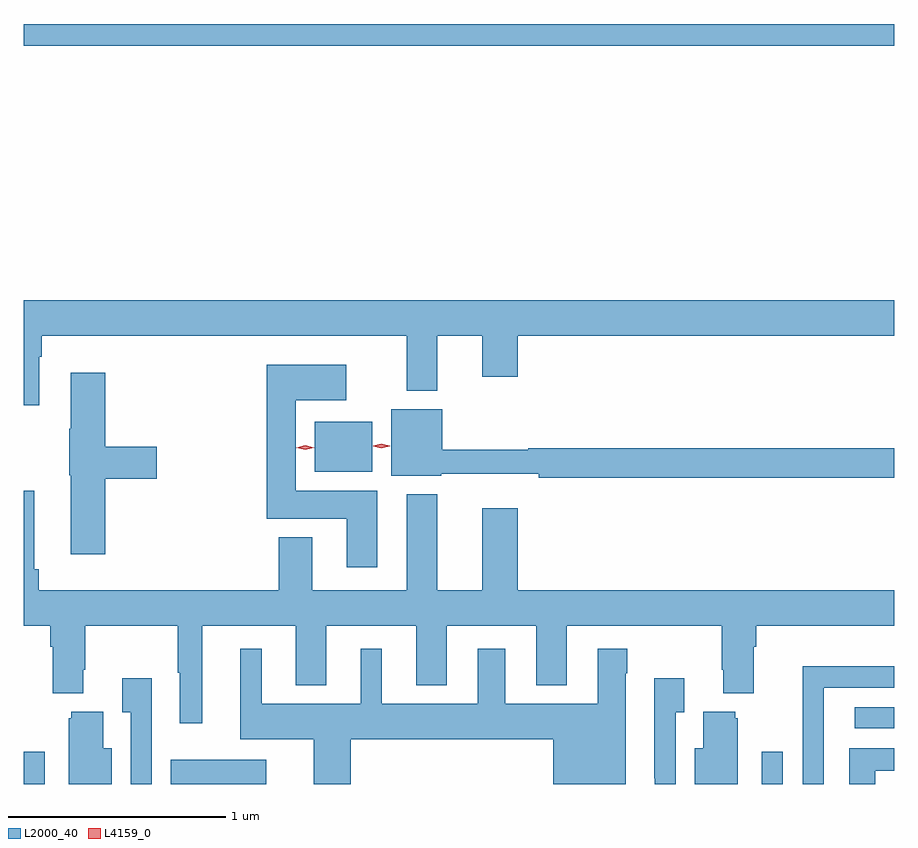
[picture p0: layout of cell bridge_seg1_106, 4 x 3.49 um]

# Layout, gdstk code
import gdstk
lib = gdstk.Library(unit=1e-6, precision=1e-09)
def R(c, l, rs):  # rectangles x0, y0, x1, y1
    for r in rs: c.add(gdstk.rectangle(r[:2], r[2:], *l))
def P(c, l, *ps):  # polygons
    for p in ps: c.add(gdstk.Polygon(p, *l))
L2000_40 = (2000, 40)
L4159_0 = (4159, 0)

bridge_seg1_106 = lib.new_cell('bridge_seg1_106')
R(bridge_seg1_106, L2000_40, [(354.711,580.309,354.807,580.456), (355.386,580.309,355.825,580.42), (358.101,580.309,358.197,580.456), (358.527,580.566,358.71,580.662), (356.048,581.744,356.311,581.974), (354.71,583.7,358.71,583.8)])
P(bridge_seg1_106, L2000_40, [(354.781,582.272),(354.794,582.272),(354.794,582.368),(356.471,582.368),(356.471,582.116),(356.611,582.116),(356.611,582.368),(356.816,582.368),(356.816,582.18),(356.98,582.18),(356.98,582.368),(358.71,582.368),(358.71,582.532),(354.71,582.532),(354.71,582.048),(354.781,582.048)],
  [(356.335,581.656),(355.96,581.656),(355.96,582.071),(356.191,582.071),(356.191,582.235),(355.826,582.235),(355.826,581.528),(356.195,581.528),(356.195,581.304),(356.335,581.304)],
  [(355.085,581.711),(355.321,581.711),(355.321,581.858),(355.085,581.858),(355.085,582.199),(354.926,582.199),(354.926,581.941),(354.919,581.941),(354.919,581.727),(354.926,581.727),(354.926,581.364),(355.085,581.364)],
  [(358.71,581.852),(357.028,581.852),(357.028,581.845),(356.632,581.845),(356.632,582.031),(356.399,582.031),(356.399,581.726),(356.628,581.726),(356.628,581.735),(357.076,581.735),(357.076,581.716),(358.71,581.716)],
  [(354.779,581.296),(354.76,581.296),(354.76,581.656),(354.71,581.656),(354.71,581.036),(354.833,581.036),(354.833,580.94),(354.845,580.94),(354.845,580.727),(354.985,580.727),(354.985,580.834),(354.993,580.834),(354.993,581.036),(355.417,581.036),(355.417,580.82),(355.427,580.82),(355.427,580.587),(355.531,580.587),(355.531,581.036),(355.961,581.036),(355.961,580.763),(356.101,580.763),(356.101,581.036),(356.513,581.036),(356.513,580.763),(356.653,580.763),(356.653,581.036),(357.065,581.036),(357.065,580.763),(357.205,580.763),(357.205,581.036),(357.916,581.036),(357.916,580.834),(357.923,580.834),(357.923,580.727),(358.063,580.727),(358.063,580.94),(358.076,580.94),(358.076,581.036),(358.71,581.036),(358.71,581.2),(356.98,581.2),(356.98,581.575),(356.816,581.575),(356.816,581.2),(356.611,581.2),(356.611,581.641),(356.471,581.641),(356.471,581.2),(356.035,581.2),(356.035,581.443),(355.883,581.443),(355.883,581.2),(354.779,581.2)],
  [(356.213,580.514),(357.143,580.514),(357.143,580.309),(357.475,580.309),(357.475,580.817),(357.483,580.817),(357.483,580.93),(357.347,580.93),(357.347,580.678),(356.923,580.678),(356.923,580.93),(356.795,580.93),(356.795,580.678),(356.356,580.678),(356.356,580.93),(356.258,580.93),(356.258,580.678),(355.804,580.678),(355.804,580.93),(355.706,580.93),(355.706,580.514),(356.042,580.514),(356.042,580.309),(356.213,580.309)],
  [(358.386,580.752),(358.71,580.752),(358.71,580.85),(358.288,580.85),(358.288,580.543),(358.29,580.543),(358.29,580.309),(358.386,580.309)],
  [(355.299,580.795),(355.163,580.795),(355.163,580.639),(355.203,580.639),(355.203,580.309),(355.299,580.309)],
  [(357.705,580.639),(357.745,580.639),(357.745,580.795),(357.608,580.795),(357.608,580.336),(357.609,580.336),(357.609,580.309),(357.705,580.309)],
  [(355.114,580.474),(355.075,580.474),(355.075,580.642),(354.929,580.642),(354.929,580.611),(354.917,580.611),(354.917,580.309),(355.114,580.309)],
  [(357.991,580.611),(357.98,580.611),(357.98,580.642),(357.833,580.642),(357.833,580.474),(357.794,580.474),(357.794,580.309),(357.991,580.309)],
  [(358.623,580.37),(358.71,580.37),(358.71,580.474),(358.502,580.474),(358.502,580.309),(358.623,580.309)])
P(bridge_seg1_106, L4159_0, [(356.354,581.852),(356.316,581.861),(356.316,581.862),(356.316,581.862),(356.354,581.872),(356.393,581.862),(356.393,581.862),(356.393,581.861)],
  [(356.004,581.844),(355.963,581.854),(355.963,581.854),(355.963,581.854),(356.004,581.864),(356.044,581.854),(356.044,581.854),(356.044,581.854)])

lib.write_gds('bridge_seg1_106.gds')
